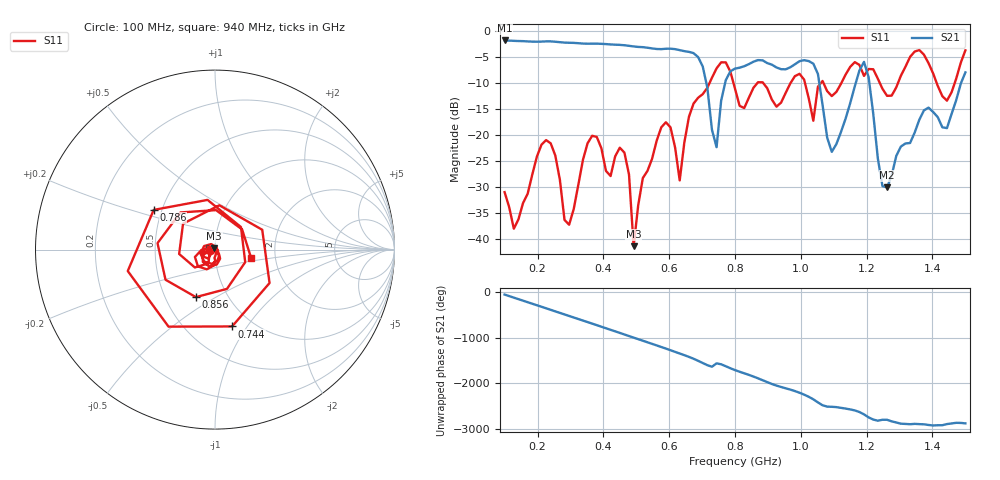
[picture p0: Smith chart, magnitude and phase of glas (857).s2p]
! NanoVNA-App
! Date: 2025-09-25 16:02:08
! Start: 100MHz Stop: 1,5GHz Points: 101
! S-Parameter data: F S11 S21 S12 S22
# Hz S RI R 50
!  Frequency  S11_Real  S11_Imag  S21_Real  S21_Imag  S12_Real  S12_Imag  S22_Real  S22_Imag
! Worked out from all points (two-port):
!   101 points, 100 MHz to 1.5 GHz, reference 50 ohm
!   highest |S21| = -1.80 dB at 100 MHz (marker M1); lowest = -30.0 dB at 1.262 GHz (marker M2)
!   |S21| within 3 dB of the highest: start of sweep to 684.4 MHz
!   lowest |S11| = -41.3 dB at 492 MHz (marker M3), VSWR 1.02, Z = 49.4 + j0.656 ohm
!   |S11| at or under -10 dB: start of sweep to 722.5 MHz; 795.4 MHz to 867.6 MHz (72.2 MHz wide, 8.68 % of centre); 886 MHz to 968.5 MHz (82.51 MHz wide, 8.9 % of centre)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
!   S12 and S22 are empty: the file has one direction only
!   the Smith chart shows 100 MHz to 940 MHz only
!   S11 on the Smith chart (normalised r, x): 100 MHz: 0.94, -0.01; 744 MHz: 0.81, -0.85; 786 MHz: 0.45, +0.24; 856 MHz: 0.71, -0.41; 940 MHz: 1.49, -0.14
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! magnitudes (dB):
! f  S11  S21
! 100 MHz  -30.9  -1.8
! 128 MHz  -37.9  -1.9
! 226 MHz  -20.9  -2.0
! 296 MHz  -37.2  -2.2
! 338 MHz  -24.7  -2.4
! 464 MHz  -23.3  -2.7
! 492 MHz  -41.3  -3.0
! 576 MHz  -18.5  -3.5
! 632 MHz  -28.7  -3.7
! 702 MHz  -12.1  -6.8
! 744 MHz  -7.2  -22.3
! 786 MHz  -7.8  -7.7
! 800 MHz  -11.1  -7.2
! 856 MHz  -10.9  -5.9
! 940 MHz  -13.7  -7.3
! 996 MHz  -8.2  -5.8
! 1.038 GHz  -17.2  -6.3
! 1.094 GHz  -12.5  -23.2
! 1.192 GHz  -8.6  -5.9
! 1.262 GHz  -12.4  -30.0
! 1.276 GHz  -12.4  -27.7
! 1.5 GHz  -3.7  -7.9
